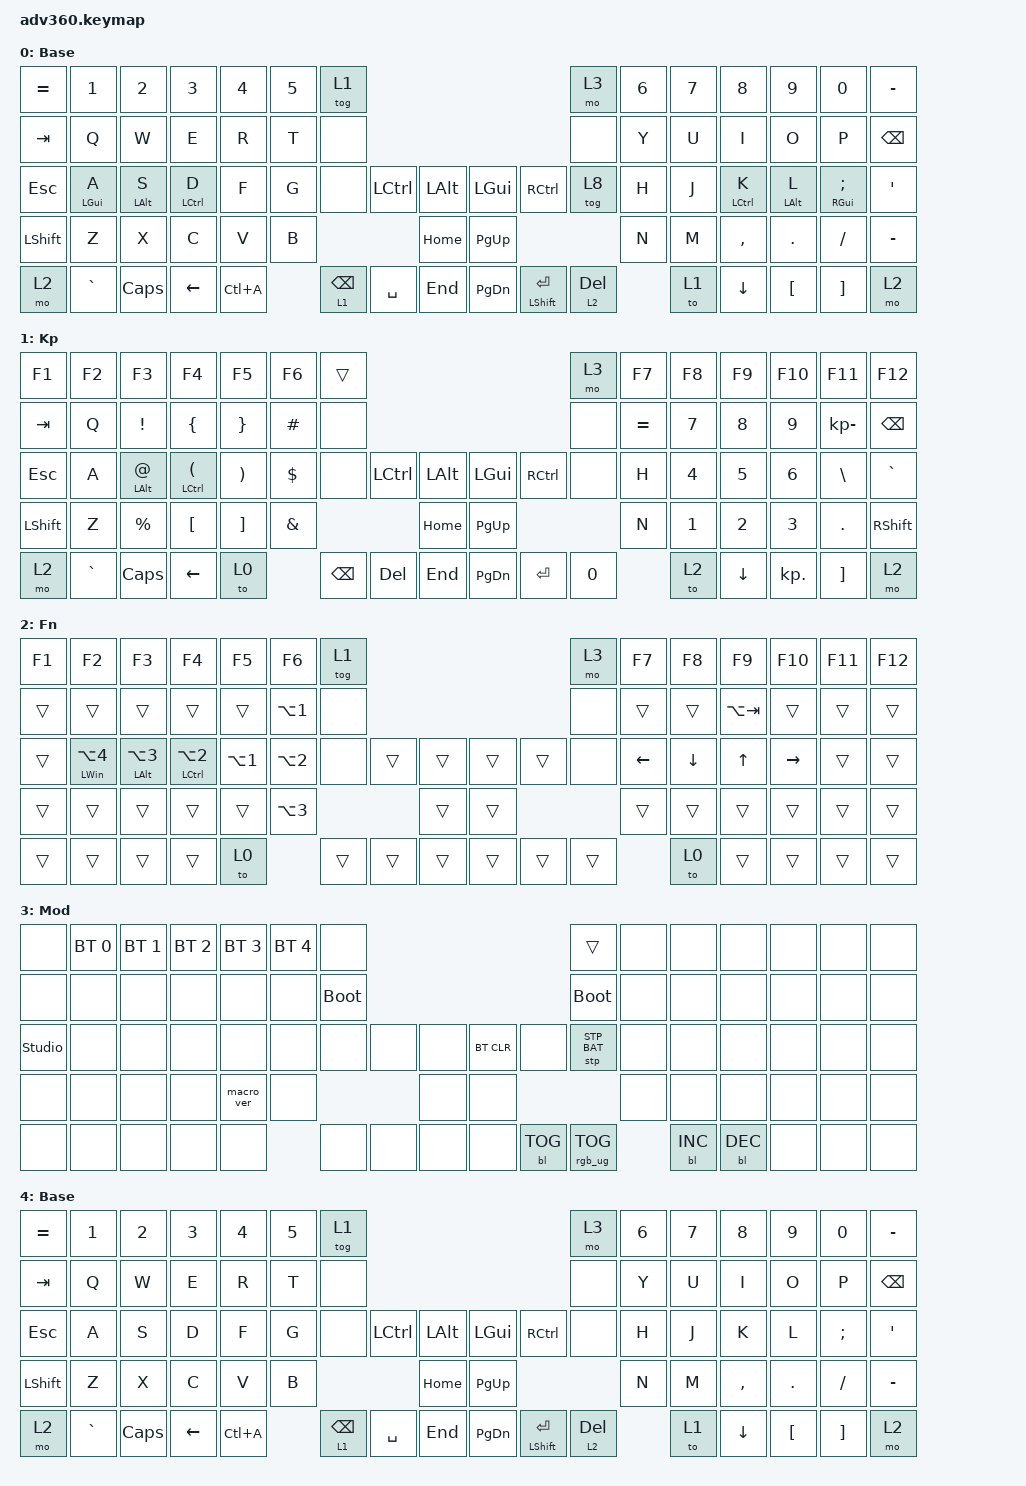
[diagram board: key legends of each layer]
#include <dt-bindings/zmk/stp.h>
#include <behaviors.dtsi>
#include <dt-bindings/zmk/backlight.h>
#include <dt-bindings/zmk/bt.h>
#include <dt-bindings/zmk/keys.h>
#include <dt-bindings/zmk/rgb.h>

/ {
    behaviors {
        #include "macros.dtsi"
      #include "version.dtsi"

        hm: homerow_mods {
            compatible = "zmk,behavior-hold-tap";
            label = "HOMEROW_MODS";
            #binding-cells = <2>;
            tapping-term-ms = <200>;
            quick_tap_ms = <175>;
            flavor = "tap-preferred";
            bindings = <&kp>, <&kp>;

            quick-tap-ms = <200>;
            require-prior-idle-ms = <125>;
        };
    };

    keymap {
        compatible = "zmk,keymap";

        default_layer {
            display-name = "Base";
            bindings = <
&kp EQUAL  &kp N1      &kp N2          &kp N3       &kp N4     &kp N5  &tog 1                                                                     &mo 3         &kp N6  &kp N7  &kp N8       &kp N9          &kp N0              &kp MINUS
&kp TAB    &kp Q       &kp W           &kp E        &kp R      &kp T   &none                                                                      &none         &kp Y   &kp U   &kp I        &kp O           &kp P               &kp BACKSPACE
&kp ESC    &hm LGUI A  &hm LEFT_ALT S  &hm LCTRL D  &kp F      &kp G   &none            &kp LCTRL  &kp LALT      &kp LGUI   &kp RCTRL             &tog 8        &kp H   &kp J   &hm LCTRL K  &hm LEFT_ALT L  &hm RGUI SEMICOLON  &kp SQT
&kp LSHFT  &kp Z       &kp X           &kp C        &kp V      &kp B                               &kp HOME      &kp PG_UP                                      &kp N   &kp M   &kp COMMA    &kp DOT         &kp FSLH            &kp MINUS
&mo 2      &kp GRAVE   &kp CAPS        &kp LEFT     &kp LC(A)          &lt 1 BACKSPACE  &kp SPACE  &kp END       &kp PG_DN  &hm LEFT_SHIFT ENTER  &lt 2 DELETE          &to 1   &kp DOWN     &kp LBKT        &kp RBKT            &mo 2
            >;
        };

        keypad {
            display-name = "Kp";
            bindings = <
&kp F1     &kp F2     &kp F3                &kp F4                      &kp F5                 &kp F6         &trans                                                   &mo 3   &kp F7     &kp F8        &kp F9        &kp F10       &kp F11        &kp F12
&kp TAB    &kp Q      &kp EXCLAMATION       &kp LEFT_BRACE              &kp RIGHT_BRACE        &kp HASH       &none                                                    &none   &kp EQUAL  &kp N7        &kp N8        &kp N9        &kp KP_MINUS   &kp BACKSPACE
&kp ESC    &kp A      &hm LEFT_ALT AT_SIGN  &hm LCTRL LEFT_PARENTHESIS  &kp RIGHT_PARENTHESIS  &kp DOLLAR     &none     &kp LCTRL  &kp LALT      &kp LGUI   &kp RCTRL  &none   &kp H      &kp NUMBER_4  &kp NUMBER_5  &kp NUMBER_6  &kp BACKSLASH  &kp GRAVE
&kp LSHFT  &kp Z      &kp PERCENT           &kp LEFT_BRACKET            &kp RIGHT_BRACKET      &kp AMPERSAND                       &kp HOME      &kp PG_UP                     &kp N      &kp NUMBER_1  &kp NUMBER_2  &kp NUMBER_3  &kp PERIOD     &kp RSHFT
&mo 2      &kp GRAVE  &kp CAPS              &kp LEFT                    &to 0                                 &kp BSPC  &kp DEL    &kp END       &kp PG_DN  &kp ENTER  &kp N0             &to 2         &kp DOWN      &kp KP_DOT    &kp RBKT       &mo 2
            >;
        };

        nav {
            display-name = "Fn";
            bindings = <
&kp F1  &kp F2                     &kp F3                     &kp F4                  &kp F5            &kp F6            &tog 1                                      &mo 3   &kp F7          &kp F8    &kp F9        &kp F10    &kp F11  &kp F12
&trans  &trans                     &trans                     &trans                  &trans            &kp LA(NUMBER_1)  &none                                       &none   &trans          &trans    &kp LA(TAB)   &trans     &trans   &trans
&trans  &hm LEFT_WIN LA(NUMBER_4)  &hm LEFT_ALT LA(NUMBER_3)  &hm LCTRL LA(NUMBER_2)  &kp LA(NUMBER_1)  &kp LA(NUMBER_2)  &none   &trans  &trans      &trans  &trans  &none   &kp LEFT_ARROW  &kp DOWN  &kp UP_ARROW  &kp RIGHT  &trans   &trans
&trans  &trans                     &trans                     &trans                  &trans            &kp LA(NUMBER_3)                  &trans      &trans                  &trans          &trans    &trans        &trans     &trans   &trans
&trans  &trans                     &trans                     &trans                  &to 0                               &trans  &trans  &trans      &trans  &trans  &trans                  &to 0     &trans        &trans     &trans   &trans
            >;
        };

        mod {
            display-name = "Mod";
            bindings = <
&none           &bt BT_SEL 0  &bt BT_SEL 1  &bt BT_SEL 2  &bt BT_SEL 3  &bt BT_SEL 4  &none                                                  &trans           &none  &none       &none       &none  &none  &none
&none           &none         &none         &none         &none         &none         &bootloader                                            &bootloader      &none  &none       &none       &none  &none  &none
&studio_unlock  &none         &none         &none         &none         &none         &none        &none  &none      &bt BT_CLR  &none       &stp STP_BAT     &none  &none       &none       &none  &none  &none
&none           &none         &none         &none         &macro_ver    &none                             &none      &none                                    &none  &none       &none       &none  &none  &none
&none           &none         &none         &none         &none                       &none        &none  &none      &none       &bl BL_TOG  &rgb_ug RGB_TOG         &bl BL_INC  &bl BL_DEC  &none  &none  &none
            >;
        };

        extra1 {
            display-name = "Red";
            status = "reserved";
        };

        extra2 {
            display-name = "Purple";
            status = "reserved";
        };

        extra3 {
            display-name = "Cyan";
            status = "reserved";
        };

        extra4 {
            display-name = "Yellow";
            status = "reserved";
        };

        typing {
            display-name = "Base";
            bindings = <
&kp EQUAL  &kp N1     &kp N2    &kp N3    &kp N4     &kp N5  &tog 1                                                                     &mo 3         &kp N6  &kp N7  &kp N8     &kp N9    &kp N0         &kp MINUS
&kp TAB    &kp Q      &kp W     &kp E     &kp R      &kp T   &none                                                                      &none         &kp Y   &kp U   &kp I      &kp O     &kp P          &kp BACKSPACE
&kp ESC    &kp A      &kp S     &kp D     &kp F      &kp G   &none            &kp LCTRL  &kp LALT      &kp LGUI   &kp RCTRL             &none         &kp H   &kp J   &kp K      &kp L     &kp SEMICOLON  &kp SQT
&kp LSHFT  &kp Z      &kp X     &kp C     &kp V      &kp B                               &kp HOME      &kp PG_UP                                      &kp N   &kp M   &kp COMMA  &kp DOT   &kp FSLH       &kp MINUS
&mo 2      &kp GRAVE  &kp CAPS  &kp LEFT  &kp LC(A)          &lt 1 BACKSPACE  &kp SPACE  &kp END       &kp PG_DN  &hm LEFT_SHIFT ENTER  &lt 2 DELETE          &to 1   &kp DOWN   &kp LBKT  &kp RBKT       &mo 2
            >;
        };
    };
};
